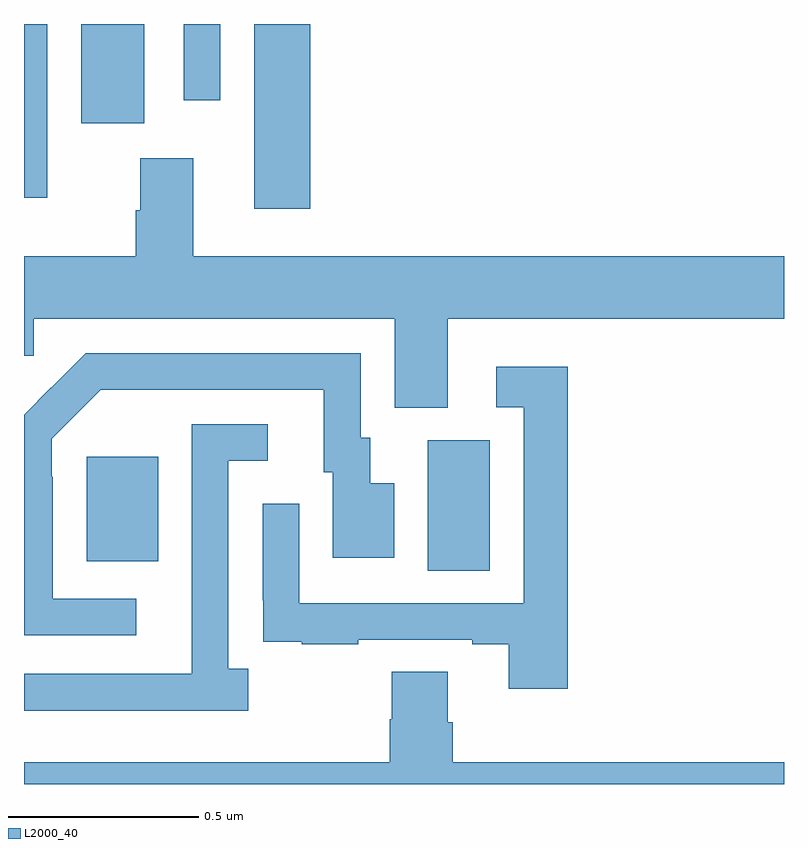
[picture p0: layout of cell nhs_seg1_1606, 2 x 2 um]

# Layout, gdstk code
import gdstk
lib = gdstk.Library(unit=1e-6, precision=1e-09)
def R(c, l, rs):  # rectangles x0, y0, x1, y1
    for r in rs: c.add(gdstk.rectangle(r[:2], r[2:], *l))
def P(c, l, *ps):  # polygons
    for p in ps: c.add(gdstk.Polygon(p, *l))
L2000_40 = (2000, 40)

nhs_seg1_1606 = lib.new_cell('nhs_seg1_1606')
R(nhs_seg1_1606, L2000_40, [(132.062,525.76,132.226,526.104), (131.165,525.785,131.353,526.06), (131.606,526.713,131.753,527.199), (131,526.742,131.061,527.199), (131.15,526.938,131.317,527.199), (131.421,526.998,131.517,527.199)])
P(nhs_seg1_1606, L2000_40, [(132.115,526.424),(133,526.424),(133,526.588),(131.446,526.588),(131.446,526.846),(131.306,526.846),(131.306,526.709),(131.294,526.709),(131.294,526.588),(131,526.588),(131,526.326),(131.025,526.326),(131.025,526.424),(131.975,526.424),(131.975,526.189),(132.115,526.189)],
  [(131.296,525.687),(131.076,525.687),(131.076,526.007),(131.073,526.007),(131.073,526.107),(131.202,526.236),(131.789,526.236),(131.789,526.02),(131.813,526.02),(131.813,525.795),(131.974,525.795),(131.974,525.991),(131.911,525.991),(131.911,526.11),(131.886,526.11),(131.886,526.332),(131.162,526.332),(131.071,526.241),(131.07,526.242),(131,526.171),(131,525.591),(131.296,525.591)],
  [(132.431,526.297),(132.243,526.297),(132.243,526.191),(132.315,526.191),(132.315,525.675),(131.724,525.675),(131.724,525.937),(131.628,525.937),(131.628,525.682),(131.629,525.682),(131.629,525.573),(131.731,525.573),(131.731,525.567),(131.879,525.567),(131.879,525.579),(132.179,525.579),(132.179,525.567),(132.275,525.567),(132.275,525.45),(132.431,525.45)],
  [(131.59,525.502),(131.538,525.502),(131.538,526.05),(131.641,526.05),(131.641,526.146),(131.442,526.146),(131.442,525.689),(131.441,525.689),(131.441,525.489),(131,525.489),(131,525.392),(131.59,525.392)],
  [(133,525.256),(132.128,525.256),(132.128,525.362),(132.115,525.362),(132.115,525.494),(131.968,525.494),(131.968,525.369),(131.963,525.369),(131.963,525.256),(131,525.256),(131,525.199),(133,525.199)])

lib.write_gds('nhs_seg1_1606.gds')
